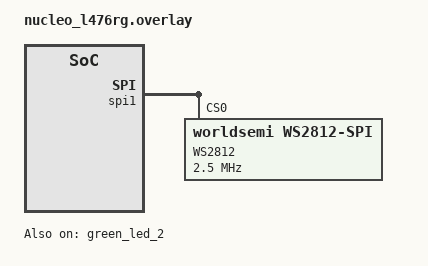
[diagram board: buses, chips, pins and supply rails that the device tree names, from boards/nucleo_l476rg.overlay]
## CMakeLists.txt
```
cmake_minimum_required(VERSION 3.15)

# Add CMake scripts (includes) into scope
list(
    APPEND
    CMAKE_MODULE_PATH
    "${CMAKE_CURRENT_LIST_DIR}/../modules/cmake-helpers/"
    "${CMAKE_CURRENT_LIST_DIR}/cmake"
)

include(zephyr_cmake_helpers_init)

# Application project
# ===================

find_package(Zephyr)

project(app C CXX ASM)

target_sources(
    app 
    PRIVATE
        src/main.cpp
        src/info_indicator.cpp
        src/utils/timeout_timer.cpp
)

target_include_directories(
    app
    PRIVATE
        src
)
```

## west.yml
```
manifest:
  remotes:
    - name: zephyrproject
      url-base: https://github.com/zephyrproject-rtos

    - name: thirdpin
      url-base: https://github.com/thirdpin

  # Please add items below based on alphabetical order
  projects:
    - name: Zephyr-CMake-Helpers
      remote: thirdpin
      revision: v1.1.0
      path: modules/cmake-helpers

    - name: cmsis
      remote: zephyrproject
      revision: master
      path: modules/hal/cmsis

    - name: hal_stm32
      remote: zephyrproject
      revision: master
      path: modules/hal/stm32

    - name: zephyr
      remote: zephyrproject
      revision: v2.6.0
      path: zephyr
      west-commands: scripts/west-commands.yml

  self:
    path: app
```

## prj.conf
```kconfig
CONFIG_CLOCK_CONTROL=y
CONFIG_SYS_CLOCK_HW_CYCLES_PER_SEC=80000000

# Debug communcation
CONFIG_SERIAL=y
CONFIG_CONSOLE=y
CONFIG_UART_CONSOLE=y

# Enable C++
CONFIG_CPLUSPLUS=y
CONFIG_STD_CPP2A=y
CONFIG_LIB_CPLUSPLUS=y
CONFIG_NEWLIB_LIBC=y

# Breaks SPI part of LED strip driver for a big ammount of LEDs
# CONFIG_LOG=y
# CONFIG_LOG_BACKEND_UART is not set
# CONFIG_LOG_BACKEND_SWO=y
# CONFIG_LOG_PRINTK=y

# Onboard LED and button control
CONFIG_GPIO=y

# LED strip driver
CONFIG_SPI=y
CONFIG_LED_STRIP=y
CONFIG_WS2812_STRIP=y
CONFIG_WS2812_STRIP_SPI=y

# CONFIG_DEBUG=y
# CONFIG_NO_OPTIMIZATIONS=y
```

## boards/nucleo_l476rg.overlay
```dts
#include <dt-bindings/led/led.h>

&spi1 {
    led_strip: ws2812@0 {
        compatible = "worldsemi,ws2812-spi";
        label = "WS2812";

        /* SPI */
        reg = <0>; /* ignored, but necessary for SPI bindings */
        spi-max-frequency = <2500000>;

        /* WS2812 */
        chain-length = <45>;
        spi-one-frame = <0xC>;
        spi-zero-frame = <0x8>;
    };
};

&green_led_2 {
	status = "okay";
};

/ {
    aliases {
        led-strip = &led_strip;
        info-indicator-led = &green_led_2;
    };
};
```

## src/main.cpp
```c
#include <assert.h>
#include <zephyr.h>
#include <device.h>

#include "info_indicator.hpp"
#include "patterns.hpp"


#define STRIP_NODE DT_ALIAS(led_strip)

static constexpr int STRIP_NUM_PIXELS = DT_PROP(STRIP_NODE, chain_length);

void main(void)
{
    const device* led_strip = DEVICE_DT_GET(STRIP_NODE);
    assert(device_is_ready(led_strip));

    patterns::RunningLeds<STRIP_NUM_PIXELS> running_leds(
      led_strip, patterns::RunningLedsParams{.speed = 10});

    indication::InfoIndicator info_indicator;

    while (true) {
        info_indicator.indicate();
        running_leds.run();
    }
}
```

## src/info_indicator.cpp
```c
#include "info_indicator.hpp"

#include <assert.h>
#include <device.h>
#include <devicetree.h>
#include <drivers/gpio.h>
#include <zephyr.h>

#include "utils/timeout_timer.hpp"


#define INFO_INDICATOR_LED_NODE DT_ALIAS(info_indicator_led)

static constexpr auto LED_PORT = DT_GPIO_LABEL(INFO_INDICATOR_LED_NODE, gpios);
static constexpr auto LED_PIN = DT_GPIO_PIN(INFO_INDICATOR_LED_NODE, gpios);
static constexpr auto LED_GPIO_FLAGS =
  DT_GPIO_FLAGS(INFO_INDICATOR_LED_NODE, gpios);

namespace indication {

using utils::TimeoutTimer;

InfoIndicator::InfoIndicator(k_timeout_t indication_period) :
  _gpio_port{device_get_binding(LED_PORT)},
  _indication_timer(
    indication_period,
    TimeoutTimer::Params{.is_periodic = true, .start_on_creation = true})
{
    assert(device_is_ready(_gpio_port));

    gpio_pin_configure(_gpio_port, LED_PIN,
                       GPIO_OUTPUT_ACTIVE | LED_GPIO_FLAGS);
}

void InfoIndicator::indicate()
{
    if (not _indication_timer.is_timeout()) {
        return;
    }

    gpio_pin_toggle(_gpio_port, LED_PIN);
}

}  // namespace indication
```

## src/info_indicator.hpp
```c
#pragma once

#include <zephyr.h>
#include <device.h>

#include "utils/timeout_timer.hpp"

namespace indication {

/**
 * @brief Simple indication pattern for the onboard LED
 * @todo Make a Zephyr driver for controlling the onboard LED
 */
class InfoIndicator
{
 public:
    InfoIndicator(k_timeout_t indication_period = K_MSEC(1000));

    /**
     * @brief Indicate with indication period of time using the indication LED
     */
    void indicate();

 private:
    const device* _gpio_port;

    utils::TimeoutTimer _indication_timer;
};

}  // namespace indication
```

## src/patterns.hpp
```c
#pragma once

#include <algorithm>
#include <array>
#include <device.h>
#include <drivers/led_strip.h>
#include <stdint.h>
#include <zephyr.h>

#include "utils/timeout_timer.hpp"

namespace patterns {

inline static constexpr std::array<led_rgb, 3> COLORS = {
  led_rgb{.r = 0x0f, .g = 0x00, .b = 0x00},
  led_rgb{.r = 0x00, .g = 0x0f, .b = 0x00},
  led_rgb{.r = 0x00, .g = 0x00, .b = 0x0f}};

inline static constexpr led_rgb NO_COLOR = {.r = 0x00, .g = 0x00, .b = 0x00};

struct RunningLedsParams
{
    int64_t speed = 1;  //!< speed of pattern in LED per sec (1..1000)
};

/**
 * @brief Straightforward realization of a simple "Running LED" strip pattern
 *
 * Switch on/off LEDs of strip one by one. LEDs color is changed after
 * reaching the end of the strip.
 *
 * @todo Make a Zephyr driver for controlling strip light modes
 */
template<size_t STRIP_NUM_PIXELS>
class RunningLeds
{
    static constexpr size_t NUM_PIXELS = STRIP_NUM_PIXELS;
    static constexpr int64_t MAX_SPEED = 1000;

 public:
    /**
     * @brief Construct a new Running Leds object
     *
     * If `speed` is not in 1..1000 interval it will be bounded.
     *
     * @param strip led strip driver complied device
     * @param params configurable paramters of LED switching pattern
     */
    RunningLeds(const device* strip, RunningLedsParams param);

    /**
     * @brief Switch LED strip state to a new one according to the pattern
     */
    void run();

 private:
    const device* _strip_dev;

    std::array<led_rgb, NUM_PIXELS> _pixels = {};

    led_rgb* _cursor = _pixels.begin();
    const led_rgb* _current_color = COLORS.begin();

    utils::TimeoutTimer _running_timer;

    void _move_cursor();
    void _update_strip();
};


template<size_t N>
RunningLeds<N>::RunningLeds(const device* strip, RunningLedsParams param) :
  _strip_dev(strip),
  _running_timer{K_MSEC(100), utils::TimeoutTimer::Params{.is_periodic = true}}
{
    const int64_t switch_state_period =
      1000 / std::clamp(param.speed, int64_t{1}, MAX_SPEED);

    _running_timer.start(K_MSEC(switch_state_period));
}

template<size_t N>
void RunningLeds<N>::run()
{
    if (not _running_timer.is_timeout()) {
        return;
    }

    _update_strip();
    _move_cursor();
}

template<size_t N>
void RunningLeds<N>::_move_cursor()
{
    _cursor = std::next(_cursor);

    if (_cursor == _pixels.end()) {
        _cursor = _pixels.begin();

        _current_color = std::next(_current_color);
        if (_current_color == COLORS.end()) {
            _current_color = COLORS.begin();
        }
    }
}

template<size_t N>
void RunningLeds<N>::_update_strip()
{
    *_cursor = *_current_color;
    led_strip_update_rgb(_strip_dev, _pixels.data(), _pixels.size());
    *_cursor = NO_COLOR;
}

}  // namespace patterns
```
